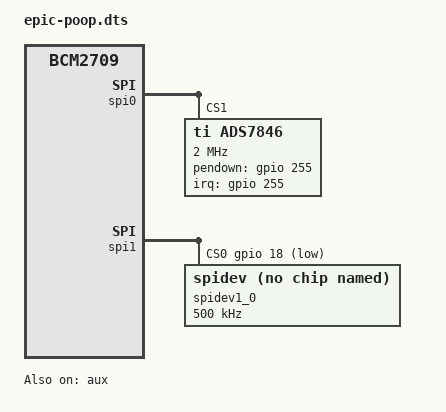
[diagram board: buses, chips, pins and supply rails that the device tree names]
/dts-v1/;
/plugin/;

/ {
	compatible = "brcm,bcm2835", "brcm,bcm2708", "brcm,bcm2709";

	fragment@0 {
		target = <&spi0>;
		__overlay__ {
			status = "okay";
		};
	};

	fragment@1 {
		target = <&spidev0>;
		__overlay__ {
			status = "disabled";
		};
	};

	fragment@3 {
		target = <&gpio>;
		__overlay__ {
			ads7846_pins: ads7846_pins {
				brcm,pins = <255>; /* illegal default value */
				brcm,function = <0>; /* in */
				brcm,pull = <0>; /* none */
			};
		};
	};

	fragment@4 {
		target = <&spi0>;
		__overlay__ {
			/* needed to avoid dtc warning */
			#address-cells = <1>;
			#size-cells = <0>;

			ads7846: ads7846@1 {
				compatible = "ti,ads7846";
				reg = <1>;
				pinctrl-names = "default";
				pinctrl-0 = <&ads7846_pins>;

				spi-max-frequency = <2000000>;
				interrupts = <255 2>; /* high-to-low edge triggered */
				interrupt-parent = <&gpio>;
				pendown-gpio = <&gpio 255 0>;

				/* driver defaults */
				ti,x-min = /bits/ 16 <0>;
				ti,y-min = /bits/ 16 <0>;
				ti,x-max = /bits/ 16 <0x0FFF>;
				ti,y-max = /bits/ 16 <0x0FFF>;
				ti,pressure-min = /bits/ 16 <0>;
				ti,pressure-max = /bits/ 16 <0xFFFF>;
				ti,x-plate-ohms = /bits/ 16 <400>;
			};
		};
	};

	fragment@5 {
		target = <&gpio>;
		__overlay__ {
			spi1_pins: spi1_pins {
				brcm,pins = <19 20 21>;
				brcm,function = <3>; /* alt4 */
			};

			spi1_cs_pins: spi1_cs_pins {
				brcm,pins = <18>;
				brcm,function = <1>; /* output */
			};
		};
	};

	fragment@6 {
		target = <&spi1>;
		frag1: __overlay__ {
			/* needed to avoid dtc warning */
			#address-cells = <1>;
			#size-cells = <0>;
			pinctrl-names = "default";
			pinctrl-0 = <&spi1_pins &spi1_cs_pins>;
			cs-gpios = <&gpio 18 1>;
			status = "okay";

			spidev1_0: spidev@0 {
				compatible = "spidev";
				reg = <0>;      /* CE0 */
				#address-cells = <1>;
				#size-cells = <0>;
				spi-max-frequency = <500000>;
				status = "okay";
			};
		};
	};

	fragment@7 {
		target = <&aux>;
		__overlay__ {
			status = "okay";
		};
	};

	__overrides__ {
		cs =     <&ads7846>,"reg:0";
		speed =  <&ads7846>,"spi-max-frequency:0";
		penirq = <&ads7846_pins>,"brcm,pins:0", /* REQUIRED */
			 <&ads7846>,"interrupts:0",
			 <&ads7846>,"pendown-gpio:4";
		penirq_pull = <&ads7846_pins>,"brcm,pull:0";
		swapxy = <&ads7846>,"ti,swap-xy?";
		xmin =   <&ads7846>,"ti,x-min;0";
		ymin =   <&ads7846>,"ti,y-min;0";
		xmax =   <&ads7846>,"ti,x-max;0";
		ymax =   <&ads7846>,"ti,y-max;0";
		pmin =   <&ads7846>,"ti,pressure-min;0";
		pmax =   <&ads7846>,"ti,pressure-max;0";
		xohms =  <&ads7846>,"ti,x-plate-ohms;0";

		cs0_pin  = <&spi1_cs_pins>,"brcm,pins:0",
			   <&frag1>,"cs-gpios:4";
		cs0_spidev = <&spidev1_0>,"status";
	};
};
